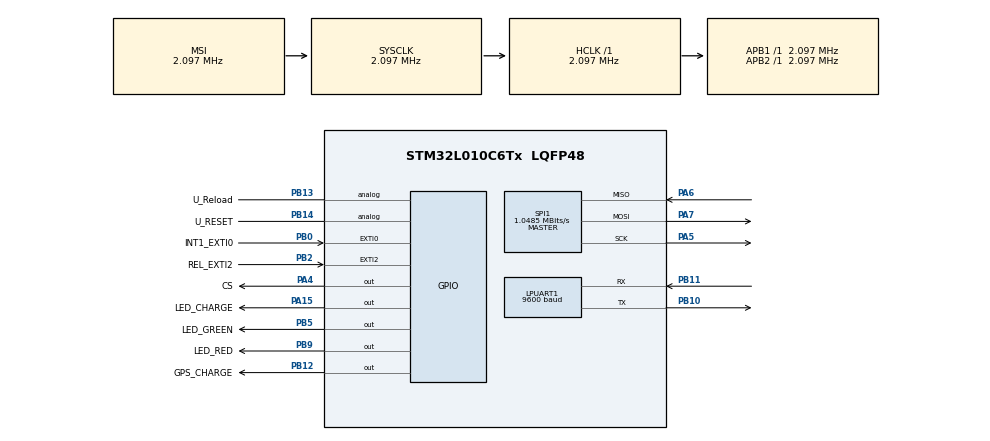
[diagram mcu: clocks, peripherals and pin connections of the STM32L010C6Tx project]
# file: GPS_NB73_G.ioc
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IWDG.Prescaler=IWDG_PRESCALER_256
LPTIM1.ClockPrescaler=LPTIM_PRESCALER_DIV128
LPUART1.BaudRate=9600
LPUART1.DMADisableonRxErrorParam=UART_ADVFEATURE_DMA_DISABLEONRXERROR
LPUART1.OneBitSampling=UART_ONE_BIT_SAMPLE_DISABLE
LPUART1.OverrunDisableParam=UART_ADVFEATURE_OVERRUN_DISABLE
LPUART1.WordLength=UART_WORDLENGTH_8B
Mcu.Family=STM32L0
Mcu.Name=STM32L010C6Tx
Mcu.Package=LQFP48
NVIC.EXTI0_1_IRQn=true\:3\:0\:true\:false\:true\:true\:true
NVIC.EXTI2_3_IRQn=true\:1\:0\:true\:false\:true\:true\:true
NVIC.LPTIM1_IRQn=true\:1\:0\:true\:false\:true\:true\:true
NVIC.LPUART1_IRQn=true\:2\:0\:true\:false\:true\:true\:true
NVIC.RTC_IRQn=true\:0\:0\:false\:false\:true\:true\:true
PA13.Mode=Serial_Wire
PA13.Signal=SYS_SWDIO
PA14.Mode=Serial_Wire
PA14.Signal=SYS_SWCLK
PA15.GPIO_Label=LED_CHARGE
PA15.Signal=GPIO_Output
PA4.GPIO_Label=CS
PA4.GPIO_PuPd=GPIO_PULLUP
PA4.PinState=GPIO_PIN_SET
PA4.Signal=GPIO_Output
PA5.Mode=Full_Duplex_Master
PA5.Signal=SPI1_SCK
PA6.Mode=Full_Duplex_Master
PA6.Signal=SPI1_MISO
PA7.Mode=Full_Duplex_Master
PA7.Signal=SPI1_MOSI
PB0.GPIO_Label=INT1_EXTI0
PB0.Signal=GPXTI0
PB10.Mode=Asynchronous
PB10.Signal=LPUART1_TX
PB11.Mode=Asynchronous
PB11.Signal=LPUART1_RX
PB12.GPIO_Label=GPS_CHARGE
PB12.Signal=GPIO_Output
PB13.GPIO_Label=U_Reload
PB13.Signal=GPIO_Analog
PB14.GPIO_Label=U_RESET
PB14.Signal=GPIO_Analog
PB2.GPIO_Label=REL_EXTI2
PB2.Signal=GPXTI2
PB5.GPIO_Label=LED_GREEN
PB5.Signal=GPIO_Output
PB9.GPIO_Label=LED_RED
PB9.Signal=GPIO_Output
PC14-OSC32_IN.Mode=LSE-External-Oscillator
PC14-OSC32_IN.Signal=RCC_OSC32_IN
PC15-OSC32_OUT.Mode=LSE-External-Oscillator
PC15-OSC32_OUT.Signal=RCC_OSC32_OUT
ProjectManager.HeapSize=0x200
ProjectManager.StackSize=0x400
ProjectManager.TargetToolchain=MDK-ARM V5
RCC.AHBFreq_Value=2097000
RCC.APB1Freq_Value=2097000
RCC.APB1TimFreq_Value=2097000
RCC.APB2Freq_Value=2097000
RCC.APB2TimFreq_Value=2097000
RCC.HCLKFreq_Value=2097000
RCC.HSE_VALUE=8000000
RCC.HSI16_VALUE=16000000
RCC.HSI_VALUE=16000000
RCC.LptimClockSelection=RCC_LPTIM1CLKSOURCE_LSE
RCC.Lpuart1ClockSelection=RCC_LPUART1CLKSOURCE_LSE
RCC.MSI_VALUE=2097000
RCC.PLLDIV=RCC_PLLDIV_4
RCC.PLLMUL=RCC_PLLMUL_4
RCC.PWR_Regulator_Voltage_Scale=PWR_REGULATOR_VOLTAGE_SCALE2
RCC.RTCClockSelection=RCC_RTCCLKSOURCE_LSE
RCC.SYSCLKFreq_VALUE=2097000
RCC.VCOOutputFreq_Value=64000000
RCC.VDD_VALUE=3
RTC.WakeUpCounter-WakeUp=0x5000
SPI1.CalculateBaudRate=1.0485 MBits/s
SPI1.Direction=SPI_DIRECTION_2LINES
SPI1.Mode=SPI_MODE_MASTER
SPI1.VirtualType=VM_MASTER
VP_IWDG_VS_IWDG.Mode=IWDG_Activate
VP_LPTIM1_VS_LPTIM_counterModeInternalClock.Mode=Counts__internal_clock_event_00
VP_RTC_VS_RTC_Activate.Mode=RTC_Enabled
VP_RTC_VS_RTC_WakeUp_intern.Mode=WakeUp
board=custom

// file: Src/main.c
/* USER CODE BEGIN Header */
/**
  ******************************************************************************
  * @file           : main.c
  * @brief          : Main program body
  ******************************************************************************
  * @attention
  *
  * <h2><center>&copy; Copyright (c) 2020 STMicroelectronics.
  * All rights reserved.</center></h2>
  *
  * This software component is licensed by ST under BSD 3-Clause license,
  * the "License"; You may not use this file except in compliance with the
  * License. You may obtain a copy of the License at:
  *                        opensource.org/licenses/BSD-3-Clause
  *
  ******************************************************************************
  */
/* USER CODE END Header */

#include "main.h"
#include "iwdg.h"
#include "lptim.h"
#include "usart.h"
#include "rtc.h"
#include "spi.h"
#include "gpio.h"

/* USER CODE BEGIN Includes */
uint8_t aTextInfoStart1[] = "NB-GPS module transfer program.\r\n";
uint8_t aTextInfoStart2[] = "using LPUART1,configuration:9600 8-N-1\r\n";
uint8_t alarmInfo[] = "03tamper alarm";
uint8_t ConnectedInfo[] = "04Connected";
uint8_t OKInfo[] = {0x30,0x36,0x00,0x01,0x00,0x4F,0x4B};//acknowledgeinfo = messageId(0x3036)+mid(0x0001)+errcode(0x00 is success,0x01 is fail)+acknowledge(0x4F4B is OK)
uint8_t ERInfo[] = {0x30,0x36,0x00,0x01,0x01,0x45,0x52};//acknowledgeinfo = messageId(0x3036)+mid(0x0001)+errcode(0x00 is success,0x01 is fail)+acknowledge(0x4552 is ER)
/* USER CODE END Includes */

/* USER CODE BEGIN PTD */
__IO uint8_t i;
//uint8_t Pregnant_Buffer[PREGNANTBUFFERSIZE]={2,0,0,0x1E,0,0x27,0,0x02,0,0x03,0,0x92,0,0x3E,0,0x02,0,0x52,0,0x72,0,0x78,0,0x8F,0,0x45,0,0xF0,
//																							0,0x78,0,0x37,0,0x2D,0,0x14,0,0x1F,0,0x33,0,0x0A,0,0x24,0,0x0C,0,0x1E,0,0x4D,0,0x12,0,0x01,
//																								0,0x1E,0,0x14,0,0x06,0,0x0A,0,0x01,0,0x1E,0,0x1E,0,0x04,0,0x28,0,0x32};
uint8_t Pregnant_Buffer[PREGNANTBUFFERSIZE]={2,0,0,0x1E,0,0x27,0,0x02,0,0,0,0,0,0x01,0,0x02,0,0,0,0x32,0,0x14,0,0x4C,0,0x14,0,0x1E,
																							0,0xC,0,0x02,0,0,0,0,0,0x14,0,0x14,0,0x2A,0,0x23,0,0x28,0,0x27,0,0x32,0,0x29,0,0x1D,
																								0,0x1E,0,0x28,0,0x49,0,0x1E,0,0x14,0,0x13,0,0x46,0,0x50,0,0x5A,0,0x32};
//uint8_t Pregnant_Buffer_backup[PREGNANTBUFFERSIZE]={0,0,0,0x96,0,0x64,0x01,0xAF,0,0xE8,0x02,0x0B,0x01,0xB4,0x02,0x18,0x02,0x13,0x01,0x48,0,0x96,0,0x6A,0,0x52};
//uint8_t Pregnant_Buffer_backup1[PREGNANTBUFFERSIZE]={2,0,0,0x1,0,0x28,0,0x14,0,0x0C,0,0x17,0,0x16,0,0x0F,0,0x08,0,0xA,0,0x8,0,0x2,0,0xE,0,0x9,
//																							0,0x8,0,0x10,0,0x12,0,0x11,0,0x9,0,0,0,0x1,0,0xD,0,0xA,0,0xD,0,0x5,0,0x3,0,0x4,
//																								0,0x8,0,0x4,0,0x12,0,0x17,0,0x26,0,0x10,0,0x7,0,0x4,0,0x7,0,0};

//uint8_t Pregnant_Buffer_backup2[PREGNANTBUFFERSIZE]={2,0,0,0x33,0,0,0,0xC,0,0x5,0,0xD,0,0xA,0,0x4,0,0x6,0,0x2,0,0x3,0,0x1,0,0x5,0,0x2,
//																							0,0x3,0,0,0,0x1,0,0,0,0x11,0,0xB,0,0x2,0,0xA,0,0x2,0,0x12,0,0x1,0,0x1,0,0x2,
//																								0,0x13,0,0xC,0,0x9,0,0x14,0,0x12,0,0xC,0,0xB,0,0x6,0,0xD,0,0x23};

//uint8_t Pregnant_Buffer_backup3[PREGNANTBUFFERSIZE]={2,0,0,0x1,0,0x40,0,0x2C,0,0x26,0,0x12,0,0x45,0,0x88,0,0xE2,0,0x66,0,0x37,0,0x4B,0,0x66,0x01,0x01,
//																							0,0xA4,0,0xBC,0,0x62,0,0x96,0,0xB4,0,0xA6,0,0xBE,0,0xE7,0,0x66,0,0xC6,0,0xBA,0,0x4D,0,0x41,
//																								0,0x32,0,0x41,0,0x23,0,0x28,0,0x22,0,0,0,0,0,0,0,0x5,0,0};

uint8_t Pregnant_TxBuffer[TxPREGNANTBUFFERSIZE];
uint8_t GNSS_Buffer[GNSSBUFFERSIZE];
uint8_t ALLGNSS_Buffer[ALLGNSSBUFFERSIZE];
uint8_t ALLGNSS_TxBuffer[TxALLGNSSBUFFERSIZE];
uint8_t RxBuffer[RXBUFFERSIZE];
uint8_t TxTempBuffer[TxPREGNANTBUFFERSIZE];
uint8_t TxBuffer[TXBUFFERSIZE];
extern __IO uint32_t step;
extern __IO ITStatus LptimReady;
extern __IO ITStatus PowerOffReady;
extern __IO ITStatus PregnantReady;
extern __IO uint8_t wakeupTimeBase;
extern __IO uint8_t PowerOffTimeBase;
extern __IO uint8_t WAKEUPTIME;
extern __IO uint8_t RxCounter;
extern __IO ITStatus AlarmReady;
__IO uint8_t Pregnant_Buffer_Flag;
__IO uint8_t History_Flag = 0;
__IO uint8_t GNSS_Buffer_Flag = 0;
__IO uint16_t biasAddress;
__IO FlagStatus SendState = RESET;
__IO FlagStatus HistoryState = RESET;
__IO FlagStatus AlarmState = RESET;
__IO FlagStatus ConnectedState = RESET;
__IO FlagStatus RelExtiState = RESET;
__IO FlagStatus HistorySwich = RESET;

extern __IO FlagStatus CommandState;

//__IO uint8_t Pregnant_index = 0;
/* USER CODE END PTD */

/* USER CODE BEGIN PD */
#define DEBUG
#define EEPROM_BASE_ADDR		0x08080000   /* Start @ of user eeprom area */
#define EEPROM_BYTE_SIZE		0xFF
/* USER CODE END PD */

void SystemClock_Config(void);
/* USER CODE BEGIN PFP */
static void SystemPower_Config(void);
static void Show_Message(void);
/* USER CODE END PFP */

int main(void)
{

  /* MCU Configuration--------------------------------------------------------*/

  /* Reset of all peripherals, Initializes the Flash interface and the Systick. */
  HAL_Init();

  /* Configure the system clock */
  SystemClock_Config();

  /* Initialize all configured peripherals */
  MX_GPIO_Init();
  MX_SPI1_Init();
  MX_LPUART1_UART_Init();
  MX_LPTIM1_Init();
  MX_RTC_Init();
  MX_IWDG_Init();
  /* USER CODE BEGIN 2 */
	REL_EXTI_DisInit();
	Activate_SPI();
	Activate_LPUART1();
	LPTIM1_Counter_Start_IT();
	ADXL362_Init();
	LED_CHARGE_ON();
	GPS_CHARGE_ON();
	LL_mDelay(12000);
	Show_Message();
	LL_mDelay(2000);
  /* Enable RXNE and Error interrupts */
  LL_LPUART_EnableIT_RXNE(LPUART1);
	LL_LPUART_EnableIT_ERROR(LPUART1);

	EEPROM_READ(0,Pregnant_Buffer,PREGNANTBUFFERSIZE);
	Pregnant_Buffer_Flag = Pregnant_Buffer[1];
  /* USER CODE END 2 */

  /* Infinite loop */
  /* USER CODE BEGIN WHILE */
  while (1)
  {
		/* Refresh IWDG down-counter to default value */
		LL_IWDG_ReloadCounter(IWDG);

		if(PregnantReady == SET)
		{
			if(Pregnant_Buffer_Flag == PREGNANTBUFFERFLAGLENGTH)
			{
				Pregnant_Buffer_Flag = 0;
			}
			else
			{
				Pregnant_Buffer_Flag++;
			}
			*(Pregnant_Buffer+Pregnant_Buffer_Flag*2+2) = (uint8_t)(0x000000FF & step>>8);
			*(Pregnant_Buffer+Pregnant_Buffer_Flag*2+3) = (uint8_t)(0x000000FF & step);
//			if(Pregnant_Buffer_Flag == 0x01)
//			{
//				Pregnant_index++;
//			}
//			if(Pregnant_index == 0x01)
//			{
//			*(Pregnant_Buffer+Pregnant_Buffer_Flag*2+2) = Pregnant_Buffer_backup1[Pregnant_Buffer_Flag*2+2];
//			*(Pregnant_Buffer+Pregnant_Buffer_Flag*2+3) = Pregnant_Buffer_backup1[Pregnant_Buffer_Flag*2+3];
//			}
//			else if(Pregnant_index == 0x02)
//			{
//			*(Pregnant_Buffer+Pregnant_Buffer_Flag*2+2) = Pregnant_Buffer_backup2[Pregnant_Buffer_Flag*2+2];
//			*(Pregnant_Buffer+Pregnant_Buffer_Flag*2+3) = Pregnant_Buffer_backup2[Pregnant_Buffer_Flag*2+3];
//			}
//			else if(Pregnant_index == 0x03)
//			{
//			*(Pregnant_Buffer+Pregnant_Buffer_Flag*2+2) = Pregnant_Buffer_backup3[Pregnant_Buffer_Flag*2+2];
//			*(Pregnant_Buffer+Pregnant_Buffer_Flag*2+3) = Pregnant_Buffer_backup3[Pregnant_Buffer_Flag*2+3];
//			}
			Pregnant_Buffer[0] = 0x02;
			Pregnant_Buffer[1] = Pregnant_Buffer_Flag;

			EEPROM_WRITE(0,Pregnant_Buffer,PREGNANTBUFFERSIZE);
			step = 0;
			PregnantReady = RESET;
		}

		if(LptimReady == SET)
		{
			REL_EXTI_DisInit();
//			LED_CHARGE_ON();
			GPS_CHARGE_ON();
			SendState = SET;
			LptimReady = RESET;
			RxCounter = 0x00;
		}

		if(AlarmReady == SET)
		{
			REL_EXTI_DisInit();
			LED_CHARGE_ON();
			GPS_CHARGE_ON();
			AlarmState = SET;
			AlarmReady = RESET;
			PowerOffTimeBase = 0x00;
			RxCounter = 0x00;
		}

		if(PowerOffReady == SET)
		{
			SendState = RESET;
			AlarmState = RESET;
			ConnectedState = RESET;
			PowerOffReady = RESET;
		}

		if(RxBuffer[0] == 0x43 && RxBuffer[1] == 0x6F && RxBuffer[2] == 0x6E && RxBuffer[3] == 0x6E && RxBuffer[4] == 0x65 && RxBuffer[5] == 0x63 && RxBuffer[6] == 0x74 && RxBuffer[7] == 0x65 && RxBuffer[8] == 0x64)
		{
			if(ConnectedState == RESET)
			{
				LL_mDelay(2000);
				PrintInfo((uint8_t*)ConnectedInfo, sizeof(ConnectedInfo));
				if(SendState == SET)
				{
					LL_mDelay(100);
					Bufferchg((uint8_t*)Pregnant_Buffer, (uint8_t*)Pregnant_TxBuffer, PREGNANTBUFFERSIZE, TxPREGNANTBUFFERSIZE);
					PrintInfo((uint8_t*)Pregnant_TxBuffer, TxPREGNANTBUFFERSIZE);
				}
				ConnectedState = SET;
				if(AlarmState == SET && HistorySwich == SET)
				{
					HistoryState = SET;
					History_Flag = 0x00;
					LL_mDelay(50);
				}

				for (i=0; i<RXBUFFERSIZE; i++) //clear array
				{	RxBuffer[i] = 0; }
				RxCounter = 0x00;
			}
		}
		if(RxBuffer[0] == 0x30 && RxBuffer[1] == 0x35 && RxBuffer[4] == 0x41 && RxBuffer[5] == 0x41 && RxBuffer[6] == 0x43 && RxBuffer[7] == 0x43 && RxBuffer[14] == 0x0A)
		{
			if(CommandState == SET)
			{
				if(RxBuffer[8] == 0x30 && RxBuffer[9] == 0x31 && RxBuffer[10] >= 0x03)
				{
					WAKEUPTIME = RxBuffer[10];
					wakeupTimeBase = 0x00;
					OKInfo[0] = 0x30;
					OKInfo[1] = 0x36;
					OKInfo[2] = RxBuffer[2];
					OKInfo[3] = RxBuffer[3];
					PrintInfo((uint8_t*)OKInfo, sizeof(OKInfo));
				}
				else if(RxBuffer[8] == 0x30 && RxBuffer[9] == 0x32)
				{
					RelExtiState = RESET;
					OKInfo[0] = 0x30;
					OKInfo[1] = 0x36;
					OKInfo[2] = RxBuffer[2];
					OKInfo[3] = RxBuffer[3];
					PrintInfo((uint8_t*)OKInfo, sizeof(OKInfo));
				}
				else if(RxBuffer[8] == 0x30 && RxBuffer[9] == 0x33)
				{
					RelExtiState = SET;
					REL_EXTI_DisInit();
					OKInfo[0] = 0x30;
					OKInfo[1] = 0x36;
					OKInfo[2] = RxBuffer[2];
					OKInfo[3] = RxBuffer[3];
					PrintInfo((uint8_t*)OKInfo, sizeof(OKInfo));
				}
				else
				{
					ERInfo[0] = 0x30;
					ERInfo[1] = 0x36;
					ERInfo[2] = RxBuffer[2];
					ERInfo[3] = RxBuffer[3];
					PrintInfo((uint8_t*)ERInfo, sizeof(ERInfo));
				}
				CommandState = RESET;
			}
		}

		if(RxBuffer[0] == 0x30 && RxBuffer[1] == 0x38 && RxBuffer[4] == 0x41 && RxBuffer[5] == 0x41 && RxBuffer[6] == 0x44 && RxBuffer[7] == 0x44 && RxBuffer[14] == 0x0A)
		{
			if(CommandState == SET)
			{
				if(RxBuffer[8] == 0x30 && RxBuffer[9] == 0x31)
				{
					OKInfo[0] = 0x30;
					OKInfo[1] = 0x39;
					OKInfo[2] = RxBuffer[2];
					OKInfo[3] = RxBuffer[3];
					PrintInfo((uint8_t*)OKInfo, sizeof(OKInfo));
					HistoryState = SET;
					History_Flag = 0x00;
					LL_mDelay(50);
				}
				else if(RxBuffer[8] == 0x30 && RxBuffer[9] == 0x32)
				{
					HistorySwich = RESET;
					OKInfo[0] = 0x30;
					OKInfo[1] = 0x39;
					OKInfo[2] = RxBuffer[2];
					OKInfo[3] = RxBuffer[3];
					PrintInfo((uint8_t*)OKInfo, sizeof(OKInfo));
				}
				else if(RxBuffer[8] == 0x30 && RxBuffer[9] == 0x33)
				{
					HistorySwich = SET;
					OKInfo[0] = 0x30;
					OKInfo[1] = 0x39;
					OKInfo[2] = RxBuffer[2];
					OKInfo[3] = RxBuffer[3];
					PrintInfo((uint8_t*)OKInfo, sizeof(OKInfo));
				}
				else
				{
					ERInfo[0] = 0x30;
					ERInfo[1] = 0x39;
					ERInfo[2] = RxBuffer[2];
					ERInfo[3] = RxBuffer[3];
					PrintInfo((uint8_t*)ERInfo, sizeof(ERInfo));
				}
				CommandState = RESET;
			}
		}

		/* Refresh IWDG down-counter to default value */
		LL_IWDG_ReloadCounter(IWDG);

		if(RxBuffer[0] == 0x01 && RxBuffer[1] == 0x46 && RxBuffer[2] == 0x00 && RxBuffer[3] == 0x00 && RxBuffer[4] == 0x00 && RxBuffer[5] == 0x16 && RxBuffer[6] == 0x2C)
		{
			LL_mDelay(50);
			if(RxBuffer[8] != 0x00)
			{
				if(GNSS_Buffer_Flag == 5)
				{
					GNSS_Buffer_Flag = 0;
				}
				else
				{
					GNSS_Buffer_Flag++;
				}
				biasAddress = 80+22*GNSS_Buffer_Flag;

				for(i=0; i<GNSSBUFFERSIZE; i++)
				{
					if(i >= 18)
					{
						GNSS_Buffer[i] = RxBuffer[19+i];
					}
					else
					{
						GNSS_Buffer[i] = RxBuffer[9+i];
					}
				}

				EEPROM_WRITE(biasAddress, GNSS_Buffer, GNSSBUFFERSIZE);
			}
			Bufferchg((uint8_t*)RxBuffer, (uint8_t*)TxBuffer, RXBUFFERSIZE, TXBUFFERSIZE);
			PrintInfo((uint8_t*)TxBuffer, TXBUFFERSIZE);
			SendState = RESET;
			if(AlarmState == SET)
			{
				LL_mDelay(200);
				PrintInfo((uint8_t*)alarmInfo, sizeof(alarmInfo));
				AlarmState = RESET;
			}
			ConnectedState = RESET;
			for (i=0; i<RXBUFFERSIZE; i++) //clear array
			{	RxBuffer[i] = 0; }
			RxCounter = 0x00;
		}

		if(HistoryState == SET)
		{
			biasAddress = 80+22*History_Flag;
			ALLGNSS_Buffer[0] = 0x07;
			EEPROM_READ(biasAddress,(uint8_t *)(ALLGNSS_Buffer+1),GNSSBUFFERSIZE);
			Bufferchg((uint8_t*)ALLGNSS_Buffer, (uint8_t*)ALLGNSS_TxBuffer, ALLGNSSBUFFERSIZE, TxALLGNSSBUFFERSIZE);
			PrintInfo((uint8_t*)ALLGNSS_TxBuffer, TxALLGNSSBUFFERSIZE);
			History_Flag++;
			LL_mDelay(100);
			if(History_Flag == 0x06)
			{
				HistoryState = RESET;
			}
		}

		/* Refresh IWDG down-counter to default value */
		LL_IWDG_ReloadCounter(IWDG);
    /* USER CODE END WHILE */

    /* USER CODE BEGIN 3 */

		if(PregnantReady == RESET && LptimReady == RESET && AlarmReady == RESET && SendState == RESET && AlarmState == RESET && HistoryState == RESET)
		{
			MX_LPUART1_UART_DeInit();
			MX_SPI1_DeInit();
			SystemPower_Config();
			/* Enter Stop Mode */
			HAL_PWR_EnterSTOPMode(PWR_LOWPOWERREGULATOR_ON, PWR_STOPENTRY_WFI);

			SystemClock_Config();
			LED_CHARGE_OFF();
			GPS_CHARGE_OFF();
			if(RelExtiState == RESET)
			{
				REL_EXTI_Init();
			}
			MX_SPI1_Init();
			MX_LPUART1_UART_Init();
			LL_LPUART_EnableIT_RXNE(LPUART1);
			LL_LPUART_EnableIT_ERROR(LPUART1);
			Activate_SPI();
			Activate_LPUART1();
			for (i=0; i<RXBUFFERSIZE; i++) //clear array
			{	RxBuffer[i] = 0; }
			RxCounter = 0x00;
//			LED_RED_TOG();
		}
  }
  /* USER CODE END 3 */
}

void SystemClock_Config(void)
{
  RCC_OscInitTypeDef RCC_OscInitStruct = {0};
  RCC_ClkInitTypeDef RCC_ClkInitStruct = {0};
  RCC_PeriphCLKInitTypeDef PeriphClkInit = {0};

  /** Configure the main internal regulator output voltage
  */
  __HAL_PWR_VOLTAGESCALING_CONFIG(PWR_REGULATOR_VOLTAGE_SCALE2);
  /** Configure LSE Drive Capability
  */
  HAL_PWR_EnableBkUpAccess();
  __HAL_RCC_LSEDRIVE_CONFIG(RCC_LSEDRIVE_LOW);
  /** Initializes the CPU, AHB and APB busses clocks
  */
  RCC_OscInitStruct.OscillatorType = RCC_OSCILLATORTYPE_LSI|RCC_OSCILLATORTYPE_LSE
                              |RCC_OSCILLATORTYPE_MSI;
  RCC_OscInitStruct.LSEState = RCC_LSE_ON;
  RCC_OscInitStruct.LSIState = RCC_LSI_ON;
  RCC_OscInitStruct.MSIState = RCC_MSI_ON;
  RCC_OscInitStruct.MSICalibrationValue = 0;
  RCC_OscInitStruct.MSIClockRange = RCC_MSIRANGE_5;
  RCC_OscInitStruct.PLL.PLLState = RCC_PLL_NONE;
  if (HAL_RCC_OscConfig(&RCC_OscInitStruct) != HAL_OK)
  {
    Error_Handler();
  }
  /** Initializes the CPU, AHB and APB busses clocks
  */
  RCC_ClkInitStruct.ClockType = RCC_CLOCKTYPE_HCLK|RCC_CLOCKTYPE_SYSCLK
                              |RCC_CLOCKTYPE_PCLK1|RCC_CLOCKTYPE_PCLK2;
  RCC_ClkInitStruct.SYSCLKSource = RCC_SYSCLKSOURCE_MSI;
  RCC_ClkInitStruct.AHBCLKDivider = RCC_SYSCLK_DIV1;
  RCC_ClkInitStruct.APB1CLKDivider = RCC_HCLK_DIV1;
  RCC_ClkInitStruct.APB2CLKDivider = RCC_HCLK_DIV1;

  if (HAL_RCC_ClockConfig(&RCC_ClkInitStruct, FLASH_LATENCY_0) != HAL_OK)
  {
    Error_Handler();
  }
  PeriphClkInit.PeriphClockSelection = RCC_PERIPHCLK_LPUART1|RCC_PERIPHCLK_RTC
                              |RCC_PERIPHCLK_LPTIM1;
  PeriphClkInit.Lpuart1ClockSelection = RCC_LPUART1CLKSOURCE_LSE;
  PeriphClkInit.RTCClockSelection = RCC_RTCCLKSOURCE_LSE;
  PeriphClkInit.LptimClockSelection = RCC_LPTIM1CLKSOURCE_LSE;

  if (HAL_RCCEx_PeriphCLKConfig(&PeriphClkInit) != HAL_OK)
  {
    Error_Handler();
  }
}

/* USER CODE BEGIN 4 */

/**
  * @brief  System Power Configuration
  *         The system Power is configured as follow :
  *            + Regulator in LP mode
  *            + VREFINT OFF, with fast wakeup enabled
  *            + HSI as SysClk after Wake Up
  *            + No IWDG
  *            + Automatic Wakeup using RTC clocked by LSI (after ~4s)
  * @param  None
  * @retval None
  */
static void SystemPower_Config(void)
{
	/* Disable Wakeup Counter */
	HAL_RTCEx_DeactivateWakeUpTimer(&hrtc);
	/* ## Setting the Wake up time ############################################*/
	/*  RTC Wakeup Interrupt Generation:
			Wakeup Time Base = (RTC_WAKEUPCLOCK_RTCCLK_DIV /(LSE or LSI))
			Wakeup Time = Wakeup Time Base * WakeUpCounter
			= (RTC_WAKEUPCLOCK_RTCCLK_DIV /(LSE or LSI)) * WakeUpCounter
				==> WakeUpCounter = Wakeup Time / Wakeup Time Base

			To configure the wake up timer to 10s the WakeUpCounter is set to 0x5000 for LSE:
			RTC_WAKEUPCLOCK_RTCCLK_DIV = RTCCLK_Div16 = 16
			Wakeup Time Base = 16 /(32.768KHz) = 0.48828125 ms
			Wakeup Time = 10s = 0.48828125ms  * WakeUpCounter
				==> WakeUpCounter = 10s/0.48828125ms = 20480 = 0x5000 */
	HAL_RTCEx_SetWakeUpTimer_IT(&hrtc, 0x5000, RTC_WAKEUPCLOCK_RTCCLK_DIV16);

  /* Enable Power Control clock */
  __HAL_RCC_PWR_CLK_ENABLE();

  /* Enable Ultra low power mode */
  HAL_PWREx_EnableUltraLowPower();

  /* Enable the fast wake up from Ultra low power mode */
  HAL_PWREx_EnableFastWakeUp();
}

static void Show_Message(void)
{
	uint8_t ReadValueTemp;
	#ifdef DEBUG
		PrintInfo(aTextInfoStart1, sizeof(aTextInfoStart1));
		PrintInfo(aTextInfoStart2, sizeof(aTextInfoStart2));
	#endif
		ReadValueTemp = ADXL362RegisterRead(XL362_DEVID_AD);     	//Analog Devices device ID, 0xAD
		if(ReadValueTemp == 0xAD)
		{
			LED_GREEN_ON();
			LL_mDelay(1000);
		}
	#ifdef DEBUG
		printf("Analog Devices device ID: %x\n",ReadValueTemp);	 	//send via UART
	#endif
		ReadValueTemp = ADXL362RegisterRead(XL362_DEVID_MST);    	//Analog Devices MEMS device ID, 0x1D
		LED_GREEN_OFF();
		LL_mDelay(1000);
	#ifdef DEBUG
		printf("Analog Devices MEMS device ID: %x\n",ReadValueTemp);	//send via UART
	#endif
		ReadValueTemp = ADXL362RegisterRead(XL362_PARTID);       	//part ID, 0xF2
		if(ReadValueTemp == 0xF2)
		{
			LED_GREEN_ON();
			LL_mDelay(1000);
		}
	#ifdef DEBUG
		printf("Part ID: %x\n",ReadValueTemp);										//send via UART
	#endif
		ReadValueTemp = ADXL362RegisterRead(XL362_REVID);       	//version ID, 0x03
		LED_GREEN_OFF();
	#ifdef DEBUG
		printf("Version ID: %x\n",ReadValueTemp);									//send via UART
	#endif
		for (i=0; i<RXBUFFERSIZE; i++) //clear array
		{	RxBuffer[i] = 0; }
		for (i=0; i<TXBUFFERSIZE; i++) //clear array
		{	TxBuffer[i] = 0; }
		PrintInfo((uint8_t*)ConnectedInfo, sizeof(ConnectedInfo));
}

void Bufferchg(uint8_t* RxBuffer, uint8_t* TxBuffer, uint16_t RxBuffersize, uint16_t TxBuffersize)
{
	for (i=0; i<RxBuffersize; i++) //clear array
	{
		*(TxTempBuffer+2*i) = (uint8_t)(0x0F & (*RxBuffer)>>4);
		*(TxTempBuffer+2*i+1) = (uint8_t)(0x0F & (*RxBuffer));
		RxBuffer++;
	}
	Convert_ASCII((uint8_t*)TxTempBuffer,(uint8_t*)TxBuffer,TxBuffersize);
}

void Convert_ASCII(uint8_t* RxBuffer, uint8_t* TxBuffer, uint16_t RxBuffersize)
{
	uint8_t temp;
	for (i=0; i<RxBuffersize; i++)
	{
		temp = *(RxBuffer+i);
		switch(temp) {

		case 0x00:
			*(TxBuffer+i) = 0x30;
			break;

		case 0x01:
      *(TxBuffer+i) = 0x31;
      break;

		case 0x02:
      *(TxBuffer+i) = 0x32;
      break;

		case 0x03:
      *(TxBuffer+i) = 0x33;
      break;

		case 0x04:
      *(TxBuffer+i) = 0x34;
      break;

		case 0x05:
      *(TxBuffer+i) = 0x35;
      break;

		case 0x06:
      *(TxBuffer+i) = 0x36;
      break;

		case 0x07:
      *(TxBuffer+i) = 0x37;
      break;

		case 0x08:
      *(TxBuffer+i) = 0x38;
      break;

		case 0x09:
      *(TxBuffer+i) = 0x39;
      break;

		case 0x0A:
      *(TxBuffer+i) = 0x41;
      break;

		case 0x0B:
      *(TxBuffer+i) = 0x42;
      break;

		case 0x0C:
      *(TxBuffer+i) = 0x43;
      break;

		case 0x0D:
      *(TxBuffer+i) = 0x44;
      break;

		case 0x0E:
      *(TxBuffer+i) = 0x45;
      break;

		case 0x0F:
      *(TxBuffer+i) = 0x46;
      break;

		default :
      *(TxBuffer+i) = 0x45;
      break;}
	}
}

//Byte write
void EEPROM_WRITE(uint16_t BiasAddress, uint8_t *Data, uint8_t len)
{
	uint8_t i;
	HAL_StatusTypeDef status = HAL_OK;

	/* Unlocks the data memory and FLASH_PECR register access *************/
	if(HAL_FLASHEx_DATAEEPROM_Unlock() != HAL_OK)
	{
    Error_Handler();
	}
	/* Clear FLASH error pending bits */
  __HAL_FLASH_CLEAR_FLAG(FLASH_FLAG_WRPERR | FLASH_FLAG_SIZERR |
																											FLASH_FLAG_OPTVERR | FLASH_FLAG_RDERR |
																												FLASH_FLAG_FWWERR | FLASH_FLAG_NOTZEROERR);
	for(i=0;i<len;i++)
	{
		status +=HAL_FLASHEx_DATAEEPROM_Program(FLASH_TYPEPROGRAMDATA_BYTE, EEPROM_BASE_ADDR+BiasAddress+i, *Data);
		Data++;
	}
  /* Locks the Data memory and FLASH_PECR register access. (recommended
     to protect the DATA_EEPROM against possible unwanted operation) *********/
  HAL_FLASHEx_DATAEEPROM_Lock();
}

//Byte read
void EEPROM_READ(uint16_t BiasAddress, uint8_t *Buffer, uint8_t Len)
{
	uint8_t *wAddr;
	wAddr=(uint8_t *)(EEPROM_BASE_ADDR+BiasAddress);
	while(Len--)
	{
		*Buffer++=*wAddr++;
	}
}

void LEDRed_Blinking(uint32_t Period)
{
  /* Toggle LED2 in an infinite loop */
  while (1)
  {
    LED_RED_TOG();
    LL_mDelay(Period);
  }
}

void LEDGreen_Blinking(uint32_t Period)
{
  /* Toggle LED2 in an infinite loop */
  while (1)
  {
    LED_GREEN_TOG();
    LL_mDelay(Period);
  }
}

/* USER CODE END 4 */

void Error_Handler(void)
{
  /* USER CODE BEGIN Error_Handler_Debug */
  /* User can add his own implementation to report the HAL error return state */
  while(1)
  {
    /* Error if LED3 is slowly blinking (1 sec. period) */
    LEDRed_Blinking(1000);
  }
  /* USER CODE END Error_Handler_Debug */
}

/************************ (C) COPYRIGHT STMicroelectronics *****END OF FILE****/
